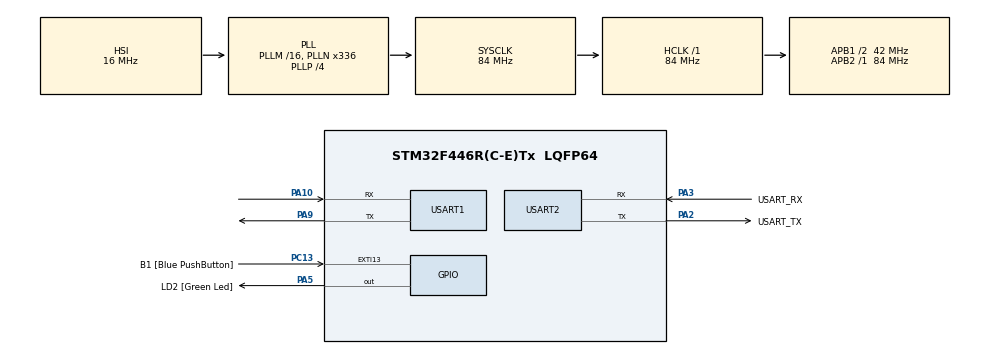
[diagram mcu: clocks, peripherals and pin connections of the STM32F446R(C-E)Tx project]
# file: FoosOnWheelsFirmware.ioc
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Dma.Request0=USART1_RX
Dma.USART1_RX.0.Direction=DMA_PERIPH_TO_MEMORY
Dma.USART1_RX.0.FIFOMode=DMA_FIFOMODE_DISABLE
Dma.USART1_RX.0.Instance=DMA2_Stream2
Dma.USART1_RX.0.MemDataAlignment=DMA_MDATAALIGN_BYTE
Dma.USART1_RX.0.MemInc=DMA_MINC_ENABLE
Dma.USART1_RX.0.Mode=DMA_NORMAL
Dma.USART1_RX.0.PeriphDataAlignment=DMA_PDATAALIGN_BYTE
Dma.USART1_RX.0.PeriphInc=DMA_PINC_DISABLE
Dma.USART1_RX.0.Priority=DMA_PRIORITY_LOW
Mcu.Family=STM32F4
Mcu.Name=STM32F446R(C-E)Tx
Mcu.Package=LQFP64
NVIC.DMA2_Stream2_IRQn=true\:0\:0\:false\:false\:true\:false\:true\:true
NVIC.PriorityGroup=NVIC_PRIORITYGROUP_0
PA10.Mode=Asynchronous
PA10.Signal=USART1_RX
PA13.GPIO_Label=TMS
PA13.Mode=Serial_Wire
PA13.Signal=SYS_JTMS-SWDIO
PA14.GPIO_Label=TCK
PA14.Mode=Serial_Wire
PA14.Signal=SYS_JTCK-SWCLK
PA2.GPIO_Label=USART_TX
PA2.Mode=Asynchronous
PA2.Signal=USART2_TX
PA3.GPIO_Label=USART_RX
PA3.Mode=Asynchronous
PA3.Signal=USART2_RX
PA5.GPIO_Label=LD2 [Green Led]
PA5.Signal=GPIO_Output
PA9.Mode=Asynchronous
PA9.Signal=USART1_TX
PB3.GPIO_Label=SWO
PB3.Signal=SYS_JTDO-SWO
PC13.GPIO_Label=B1 [Blue PushButton]
PC13.GPIO_ModeDefaultEXTI=GPIO_MODE_IT_FALLING
PC13.Signal=GPXTI13
PC14-OSC32_IN.Mode=LSE-External-Oscillator
PC14-OSC32_IN.Signal=RCC_OSC32_IN
PC15-OSC32_OUT.Mode=LSE-External-Oscillator
PC15-OSC32_OUT.Signal=RCC_OSC32_OUT
PH0-OSC_IN.Mode=HSE-External-Oscillator
PH0-OSC_IN.Signal=RCC_OSC_IN
PH1-OSC_OUT.Mode=HSE-External-Oscillator
PH1-OSC_OUT.Signal=RCC_OSC_OUT
ProjectManager.HeapSize=0x200
ProjectManager.StackSize=0x400
ProjectManager.TargetToolchain=STM32CubeIDE
RCC.48MHZClocksFreq_Value=84000000
RCC.AHBFreq_Value=84000000
RCC.APB1CLKDivider=RCC_HCLK_DIV2
RCC.APB1Freq_Value=42000000
RCC.APB1TimFreq_Value=84000000
RCC.APB2Freq_Value=84000000
RCC.APB2TimFreq_Value=84000000
RCC.CortexFreq_Value=84000000
RCC.FLatency-AdvancedSettings=FLASH_LATENCY_2
RCC.HCLKFreq_Value=84000000
RCC.HSE_VALUE=8000000
RCC.HSI_VALUE=16000000
RCC.PLLN=336
RCC.PLLP=RCC_PLLP_DIV4
RCC.SYSCLKFreq_VALUE=84000000
RCC.SYSCLKSource=RCC_SYSCLKSOURCE_PLLCLK
RCC.USBFreq_Value=168000000
RCC.VCOOutputFreq_Value=336000000
USART1.VirtualMode=VM_ASYNC
USART2.VirtualMode=VM_ASYNC
board=NUCLEO-F446RE

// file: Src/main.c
/* USER CODE BEGIN Header */
/**
  ******************************************************************************
  * @file           : main.c
  * @brief          : Main program body
  ******************************************************************************
  * @attention
  *
  * Copyright (c) 2026 STMicroelectronics.
  * All rights reserved.
  *
  * This software is licensed under terms that can be found in the LICENSE file
  * in the root directory of this software component.
  * If no LICENSE file comes with this software, it is provided AS-IS.
  *
  ******************************************************************************
  */
/* USER CODE END Header */
#include "main.h"

/* USER CODE BEGIN Includes */
#include <stdio.h>
#include <string.h>

/* USER CODE END Includes */

UART_HandleTypeDef huart1;
UART_HandleTypeDef huart2;
DMA_HandleTypeDef hdma_usart1_rx;

void SystemClock_Config(void);
static void MX_GPIO_Init(void);
static void MX_DMA_Init(void);
static void MX_USART1_UART_Init(void);
static void MX_USART2_UART_Init(void);

/* USER CODE BEGIN 0 */
uint8_t rx_buff[32];
char msg[100];
uint16_t channels[6];
/* USER CODE END 0 */

int main(void)
{

  /* MCU Configuration--------------------------------------------------------*/

  /* Reset of all peripherals, Initializes the Flash interface and the Systick. */
  HAL_Init();

  /* Configure the system clock */
  SystemClock_Config();

  /* Initialize all configured peripherals */
  MX_GPIO_Init();
  MX_DMA_Init();
  MX_USART1_UART_Init();
  MX_USART2_UART_Init();
  /* USER CODE BEGIN 2 */
  HAL_UART_Receive_DMA(&huart1, rx_buff, 32);
  /* USER CODE END 2 */

  /* Infinite loop */
  while (1)
  {

    /* USER CODE BEGIN 3 */
	    if (rx_buff[0] == 0x20 && rx_buff[1] == 0x40) {
	      for (int i = 0; i < 6; i++) {
	        channels[i] = rx_buff[2 + i*2] | (rx_buff[3 + i*2] << 8);
	      }

	      // Print first 3 channels
	      sprintf(msg, "CH1:%4d CH2:%4d CH3:%4d\r\n", channels[0], channels[1], channels[2]);
	      HAL_UART_Transmit(&huart2, (uint8_t*)msg, strlen(msg), 100);
	    }

	    HAL_Delay(100);
	  }

    /* USER CODE BEGIN 3 */
  }
  /* USER CODE END 3 */

void SystemClock_Config(void)
{
  RCC_OscInitTypeDef RCC_OscInitStruct = {0};
  RCC_ClkInitTypeDef RCC_ClkInitStruct = {0};

  /** Configure the main internal regulator output voltage
  */
  __HAL_RCC_PWR_CLK_ENABLE();
  __HAL_PWR_VOLTAGESCALING_CONFIG(PWR_REGULATOR_VOLTAGE_SCALE3);

  /** Initializes the RCC Oscillators according to the specified parameters
  * in the RCC_OscInitTypeDef structure.
  */
  RCC_OscInitStruct.OscillatorType = RCC_OSCILLATORTYPE_HSI;
  RCC_OscInitStruct.HSIState = RCC_HSI_ON;
  RCC_OscInitStruct.HSICalibrationValue = RCC_HSICALIBRATION_DEFAULT;
  RCC_OscInitStruct.PLL.PLLState = RCC_PLL_ON;
  RCC_OscInitStruct.PLL.PLLSource = RCC_PLLSOURCE_HSI;
  RCC_OscInitStruct.PLL.PLLM = 16;
  RCC_OscInitStruct.PLL.PLLN = 336;
  RCC_OscInitStruct.PLL.PLLP = RCC_PLLP_DIV4;
  RCC_OscInitStruct.PLL.PLLQ = 2;
  RCC_OscInitStruct.PLL.PLLR = 2;
  if (HAL_RCC_OscConfig(&RCC_OscInitStruct) != HAL_OK)
  {
    Error_Handler();
  }

  /** Initializes the CPU, AHB and APB buses clocks
  */
  RCC_ClkInitStruct.ClockType = RCC_CLOCKTYPE_HCLK|RCC_CLOCKTYPE_SYSCLK
                              |RCC_CLOCKTYPE_PCLK1|RCC_CLOCKTYPE_PCLK2;
  RCC_ClkInitStruct.SYSCLKSource = RCC_SYSCLKSOURCE_PLLCLK;
  RCC_ClkInitStruct.AHBCLKDivider = RCC_SYSCLK_DIV1;
  RCC_ClkInitStruct.APB1CLKDivider = RCC_HCLK_DIV2;
  RCC_ClkInitStruct.APB2CLKDivider = RCC_HCLK_DIV1;

  if (HAL_RCC_ClockConfig(&RCC_ClkInitStruct, FLASH_LATENCY_2) != HAL_OK)
  {
    Error_Handler();
  }
}

static void MX_USART1_UART_Init(void)
{

  huart1.Instance = USART1;
  huart1.Init.BaudRate = 115200;
  huart1.Init.WordLength = UART_WORDLENGTH_8B;
  huart1.Init.StopBits = UART_STOPBITS_1;
  huart1.Init.Parity = UART_PARITY_NONE;
  huart1.Init.Mode = UART_MODE_TX_RX;
  huart1.Init.HwFlowCtl = UART_HWCONTROL_NONE;
  huart1.Init.OverSampling = UART_OVERSAMPLING_16;
  if (HAL_UART_Init(&huart1) != HAL_OK)
  {
    Error_Handler();
  }

}

static void MX_USART2_UART_Init(void)
{

  huart2.Instance = USART2;
  huart2.Init.BaudRate = 115200;
  huart2.Init.WordLength = UART_WORDLENGTH_8B;
  huart2.Init.StopBits = UART_STOPBITS_1;
  huart2.Init.Parity = UART_PARITY_NONE;
  huart2.Init.Mode = UART_MODE_TX_RX;
  huart2.Init.HwFlowCtl = UART_HWCONTROL_NONE;
  huart2.Init.OverSampling = UART_OVERSAMPLING_16;
  if (HAL_UART_Init(&huart2) != HAL_OK)
  {
    Error_Handler();
  }

}

static void MX_DMA_Init(void)
{

  /* DMA controller clock enable */
  __HAL_RCC_DMA2_CLK_ENABLE();

  /* DMA interrupt init */
  /* DMA2_Stream2_IRQn interrupt configuration */
  HAL_NVIC_SetPriority(DMA2_Stream2_IRQn, 0, 0);
  HAL_NVIC_EnableIRQ(DMA2_Stream2_IRQn);

}

static void MX_GPIO_Init(void)
{
  GPIO_InitTypeDef GPIO_InitStruct = {0};

  /* GPIO Ports Clock Enable */
  __HAL_RCC_GPIOC_CLK_ENABLE();
  __HAL_RCC_GPIOH_CLK_ENABLE();
  __HAL_RCC_GPIOA_CLK_ENABLE();
  __HAL_RCC_GPIOB_CLK_ENABLE();

  /*Configure GPIO pin Output Level */
  HAL_GPIO_WritePin(LD2_GPIO_Port, LD2_Pin, GPIO_PIN_RESET);

  /*Configure GPIO pin : B1_Pin */
  GPIO_InitStruct.Pin = B1_Pin;
  GPIO_InitStruct.Mode = GPIO_MODE_IT_FALLING;
  GPIO_InitStruct.Pull = GPIO_NOPULL;
  HAL_GPIO_Init(B1_GPIO_Port, &GPIO_InitStruct);

  /*Configure GPIO pin : LD2_Pin */
  GPIO_InitStruct.Pin = LD2_Pin;
  GPIO_InitStruct.Mode = GPIO_MODE_OUTPUT_PP;
  GPIO_InitStruct.Pull = GPIO_NOPULL;
  GPIO_InitStruct.Speed = GPIO_SPEED_FREQ_LOW;
  HAL_GPIO_Init(LD2_GPIO_Port, &GPIO_InitStruct);

}

/* USER CODE BEGIN 4 */
void HAL_UART_RxCpltCallback(UART_HandleTypeDef *huart)
{
  if (huart->Instance == USART1) {
    HAL_UART_Receive_DMA(&huart1, rx_buff, 32);
  }
}

/* USER CODE END 4 */

void Error_Handler(void)
{
  __disable_irq();
  while (1)
  {
  }
}
